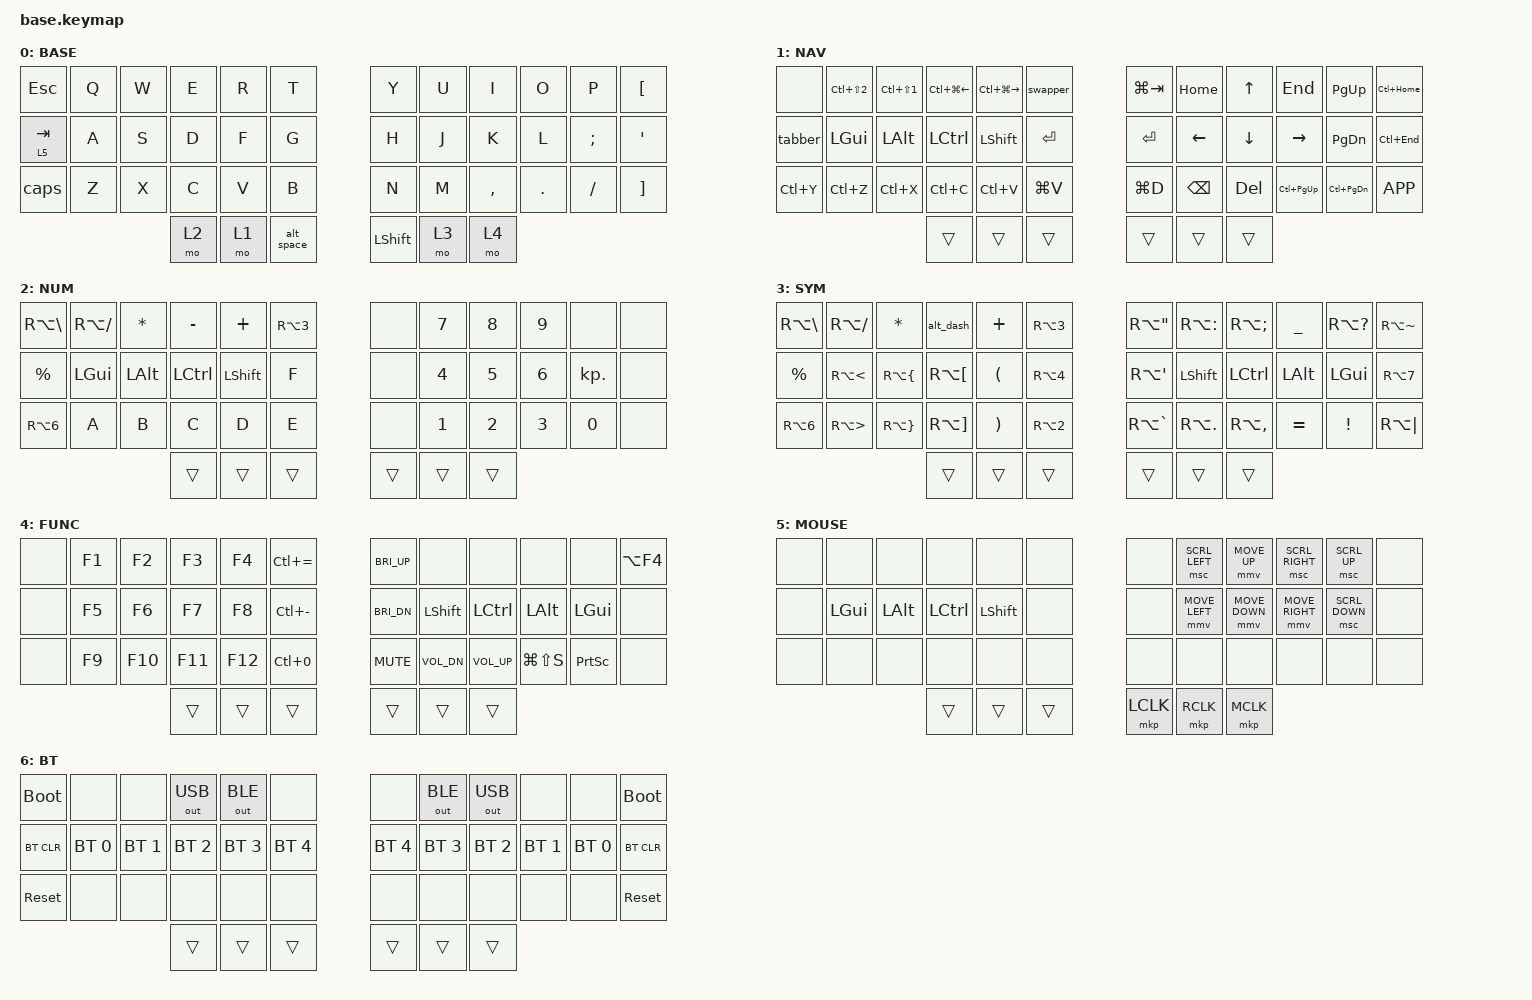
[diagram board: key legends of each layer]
#define ZMK_POINTING_DEFAULT_MOVE_VAL 600  // 600
#define ZMK_POINTING_DEFAULT_SCRL_VAL 20   // 10

#include <behaviors/mouse_keys.dtsi>
#include <dt-bindings/zmk/mouse.h>
#include <behaviors.dtsi>
#include <dt-bindings/zmk/bt.h>
#include <dt-bindings/zmk/keys.h>
#include <dt-bindings/zmk/outputs.h>
#include <dt-bindings/zmk/pointing.h>

#define DEF 0
#define LWR 1
#define RSE 2
#define ADJ 3

&lt { quick-tap-ms = <200>; };

&mt { quick-tap-ms = <200>; };

&mmv {
    acceleration-exponent = <1>;  // 1
    time-to-max-speed-ms = <0>;   // 0
    delay-ms = <0>;
    trigger-period-ms = <8>;      // 16
};

&msc {
    acceleration-exponent = <1>;  // 1
    time-to-max-speed-ms = <0>;   // 0
    delay-ms = <0>;
    trigger-period-ms = <8>;      // 16
};

&caps_word {
    /delete-property/ ignore-modifiers;

    continue-list = <UNDERSCORE BACKSPACE DELETE LSHFT RSHFT>;
};

/ {
    conditional_layers { compatible = "zmk,conditional-layers"; };

    macros {
        to_russian: to_russian {
            compatible = "zmk,behavior-macro";
            #binding-cells = <0>;
            bindings = <&kp LS(LC(N2)) &to 0>;
            label = "TO_RUSSIAN";
        };

        to_english: to_english {
            compatible = "zmk,behavior-macro";
            #binding-cells = <0>;
            bindings = <&kp LS(LC(N1)) &to 7>;
            label = "TO_ENGLISH";
        };
    };

    combos {
        compatible = "zmk,combos";

        bt_left_combo {
            bindings = <&mo 6>;
            key-positions = <36 37 38>;
        };

        bt_right_combo {
            bindings = <&mo 6>;
            key-positions = <39 40 41>;
        };
    };

    behaviors {
        swapper: swapper {
            compatible = "zmk,behavior-tri-state";
            label = "SWAPPER";
            #binding-cells = <0>;
            bindings = <&kt LALT>, <&kp TAB>, <&kt LALT>;

            ignored-key-positions = <8 19 20 21 39>;
        };

        tabber: tabber {
            compatible = "zmk,behavior-tri-state";
            label = "TABBER";
            #binding-cells = <0>;
            bindings = <&kt LCTRL>, <&kp TAB>, <&kt LCTRL>;

            ignored-key-positions = <8 19 20 21 39>;
        };

        alt_space: alt_space {
            compatible = "zmk,behavior-mod-morph";
            #binding-cells = <0>;
            bindings = <&kp SPACE>, <&kp RA(SPACE)>;

            mods = <(MOD_LALT|MOD_LCTL)>;
            label = "ALT_SPACE";
        };

        alt_dash: alt_dash {
            compatible = "zmk,behavior-mod-morph";
            #binding-cells = <0>;
            bindings = <&kp MINUS>, <&kp RA(MINUS)>;

            mods = <(MOD_LSFT)>;
            label = "ALT_DASH";
        };

        caps: caps {
            compatible = "zmk,behavior-mod-morph";
            label = "CAPS";
            bindings = <&caps_word>, <&kp CAPS>;

            #binding-cells = <0>;
            mods = <(MOD_LSFT)>;
        };
    };

    keymap {
        compatible = "zmk,keymap";

        BASE {
            bindings = <
&kp ESC    &kp Q  &kp W  &kp E  &kp R  &kp T       &kp Y      &kp U  &kp I      &kp O    &kp P     &kp LBKT
&lt 5 TAB  &kp A  &kp S  &kp D  &kp F  &kp G       &kp H      &kp J  &kp K      &kp L    &kp SEMI  &kp SQT
&caps      &kp Z  &kp X  &kp C  &kp V  &kp B       &kp N      &kp M  &kp COMMA  &kp DOT  &kp FSLH  &kp RBKT
                         &mo 2  &mo 1  &alt_space  &kp LSHFT  &mo 3  &mo 4
            >;
        };

        NAV {
            bindings = <
&none      &kp LC(LS(N2))  &kp LC(LS(N1))  &kp LC(LG(LEFT))  &kp LC(LG(RIGHT))  &swapper   &kp LG(TAB)  &kp HOME  &kp UP    &kp END        &kp PG_UP      &kp LC(HOME)
&tabber    &kp LGUI        &kp LALT        &kp LCTRL         &kp LSHFT          &kp RET    &kp RET      &kp LEFT  &kp DOWN  &kp RIGHT      &kp PG_DN      &kp LC(END)
&kp LC(Y)  &kp LC(Z)       &kp LC(X)       &kp LC(C)         &kp LC(V)          &kp LG(V)  &kp LG(D)    &kp BSPC  &kp DEL   &kp LC(PG_UP)  &kp LC(PG_DN)  &kp K_APP
                                           &trans            &trans             &trans     &trans       &trans    &trans
            >;
        };

        NUM {
            bindings = <
&kp RA(BACKSLASH)  &kp RA(SLASH)  &kp ASTRK  &kp MINUS  &kp PLUS   &kp RA(N3)  &none   &kp N7  &kp N8  &kp N9  &none       &none
&kp PERCENT        &kp LGUI       &kp LALT   &kp LCTRL  &kp LSHFT  &kp F       &none   &kp N4  &kp N5  &kp N6  &kp KP_DOT  &none
&kp RA(N6)         &kp A          &kp B      &kp C      &kp D      &kp E       &none   &kp N1  &kp N2  &kp N3  &kp N0      &none
                                             &trans     &trans     &trans      &trans  &trans  &trans
            >;
        };

        SYM {
            bindings = <
&kp RA(BACKSLASH)  &kp RA(SLASH)         &kp ASTRK            &alt_dash              &kp PLUS  &kp RA(N3)  &kp RA(DOUBLE_QUOTES)  &kp RA(COLON)  &kp RA(SEMICOLON)  &kp UNDERSCORE  &kp RA(QUESTION)  &kp RA(TILDE)
&kp PERCENT        &kp RA(LESS_THAN)     &kp RA(LEFT_BRACE)   &kp RA(LEFT_BRACKET)   &kp LPAR  &kp RA(N4)  &kp RA(SINGLE_QUOTE)   &kp LSHFT      &kp LCTRL          &kp LALT        &kp LGUI          &kp RA(N7)
&kp RA(N6)         &kp RA(GREATER_THAN)  &kp RA(RIGHT_BRACE)  &kp RA(RIGHT_BRACKET)  &kp RPAR  &kp RA(N2)  &kp RA(GRAVE)          &kp RA(DOT)    &kp RA(COMMA)      &kp EQUAL       &kp EXCL          &kp RA(PIPE)
                                                              &trans                 &trans    &trans      &trans                 &trans         &trans
            >;
        };

        FUNC {
            bindings = <
&none  &kp F1  &kp F2   &kp F3   &kp F4   &kp LC(EQUAL)  &kp C_BRI_UP  &none         &none         &none          &none      &kp LA(F4)
&none  &kp F5  &kp F6   &kp F7   &kp F8   &kp LC(MINUS)  &kp C_BRI_DN  &kp LSHFT     &kp LCTRL     &kp LALT       &kp LGUI   &none
&none  &kp F9  &kp F10  &kp F11  &kp F12  &kp LC(N0)     &kp C_MUTE    &kp C_VOL_DN  &kp C_VOL_UP  &kp LG(LS(S))  &kp PSCRN  &none
                        &trans   &trans   &trans         &trans        &trans        &trans
            >;
        };

        MOUSE {
            bindings = <
&none  &none     &none     &none      &none      &none   &none      &msc SCRL_LEFT  &mmv MOVE_UP    &msc SCRL_RIGHT  &msc SCRL_UP    &none
&none  &kp LGUI  &kp LALT  &kp LCTRL  &kp LSHFT  &none   &none      &mmv MOVE_LEFT  &mmv MOVE_DOWN  &mmv MOVE_RIGHT  &msc SCRL_DOWN  &none
&none  &none     &none     &none      &none      &none   &none      &none           &none           &none            &none           &none
                           &trans     &trans     &trans  &mkp LCLK  &mkp RCLK       &mkp MCLK
            >;
        };

        BT {
            bindings = <
&bootloader  &none         &none         &out OUT_USB  &out OUT_BLE  &none         &none         &out OUT_BLE  &out OUT_USB  &none         &none         &bootloader
&bt BT_CLR   &bt BT_SEL 0  &bt BT_SEL 1  &bt BT_SEL 2  &bt BT_SEL 3  &bt BT_SEL 4  &bt BT_SEL 4  &bt BT_SEL 3  &bt BT_SEL 2  &bt BT_SEL 1  &bt BT_SEL 0  &bt BT_CLR
&sys_reset   &none         &none         &none         &none         &none         &none         &none         &none         &none         &none         &sys_reset
                                         &trans        &trans        &trans        &trans        &trans        &trans
            >;
        };
    };
};
